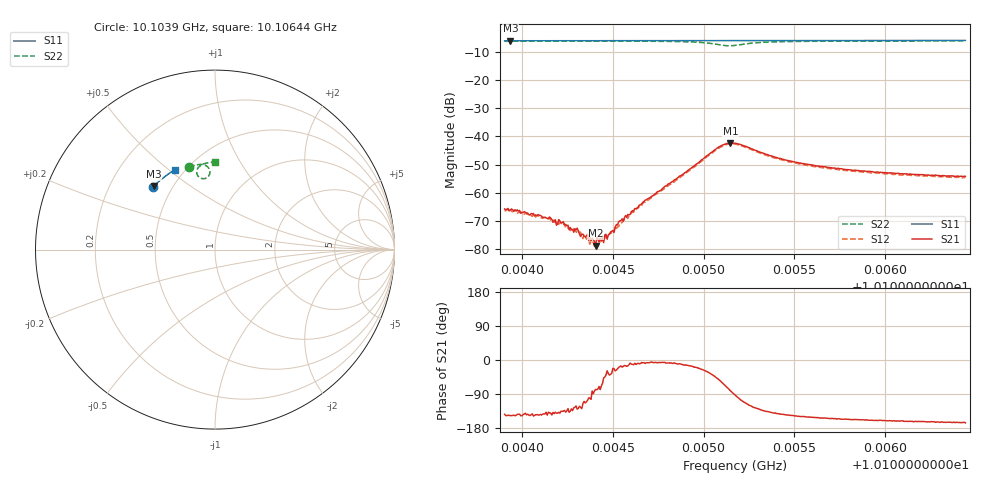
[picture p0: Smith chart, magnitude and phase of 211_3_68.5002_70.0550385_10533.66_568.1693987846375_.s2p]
#  HZ  S  RI  R  50.00
! Rohde & Schwarz Vector Network Analyzer
! Rohde-Schwarz,ZNB20-2Port,1311601062101988,3.16
! Created: UTC 3/20/2024, 5:13:10 PM
! freq[Hz]  re:S11  im:S11  re:S21  im:S21  re:S12  im:S12  re:S22  im:S22
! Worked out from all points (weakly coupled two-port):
!   401 points, 10.1039 GHz to 10.10644 GHz, reference 50 ohm
!   highest |S21| = -42.37 dB at 10.10515 GHz (marker M1); lowest = -78.7 dB at 10.1044 GHz (marker M2)
!   lowest |S11| = -6.2 dB at 10.10393 GHz (marker M3), VSWR 2.93, Z = 19.7 + j18.3 ohm
!   |S11| at or under -10 dB: nowhere
!   |S22| runs from -8.0 to -6.2 dB; largest |S21 - S12| = 0.00079
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1.0103902e10  -0.3431 0.3507  -0.000414 -0.00031  -0.000372 -0.000301  -0.1442 0.4607
1.0103934e10  -0.3416 0.3519  -0.000418 -0.000273  -0.000409 -0.000303  -0.1421 0.4614
1.0104138e10  -0.333 0.3609  -0.000291 -0.0002  -0.000257 -0.00024  -0.1282 0.4659
1.0104182e10  -0.3311 0.3629  -0.000246 -0.000224  -0.000171 -0.000242  -0.1251 0.4667
1.0104214e10  -0.3298 0.3642  -0.000207 -0.000207  -0.000209 -0.000198  -0.1228 0.4675
1.0104271e10  -0.3273 0.3666  -0.00014 -0.000174  -0.000104 -0.0002  -0.1185 0.4686
1.0104303e10  -0.3259 0.368  -0.000152 -0.000182  -8.73e-05 -0.000171  -0.1162 0.469
1.0104328e10  -0.3248 0.369  -0.000115 -0.000145  -6.04e-05 -0.000158  -0.1144 0.4696
1.0104385e10  -0.3223 0.3716  2.22e-05 -0.000155  3.94e-06 -0.000141  -0.1098 0.4707
1.0104404e10  -0.3213 0.3722  2.47e-05 -0.000114  3.1e-05 -0.000127  -0.1084 0.4708
1.0104436e10  -0.32 0.3737  5.2e-05 -0.000129  0.000114 -0.000102  -0.1059 0.4714
1.0104462e10  -0.3188 0.3747  0.000141 -0.000118  0.000127 -0.000117  -0.1036 0.4719
1.0104538e10  -0.3152 0.3779  0.000301 -9.61e-05  0.000277 -5.93e-05  -0.0971 0.4729
1.0104659e10  -0.3099 0.3827  0.000635 -7.44e-05  0.000601 -6.85e-06  -0.0856 0.4742
1.0104754e10  -0.3055 0.3865  0.00106 -0.000121  0.00102 -1.44e-05  -0.0749 0.4744
1.0105072e10  -0.2903 0.3984  0.00412 -0.00446  0.00438 -0.00384  -0.0292 0.4236
1.0105148e10  -0.287 0.4011  0.00118 -0.00752  0.00183 -0.0071  -0.064 0.395
1.0105173e10  -0.2859 0.4021  -0.000306 -0.00753  0.000378 -0.00726  -0.08 0.3981
1.0105402e10  -0.2751 0.4108  -0.00326 -0.00262  -0.00292 -0.0028  -0.0887 0.4622
1.0105599e10  -0.2654 0.4176  -0.00271 -0.0015  -0.00248 -0.00164  -0.0674 0.4758
1.0106025e10  -0.2437 0.4317  -0.00211 -0.000773  -0.00196 -0.00091  -0.0322 0.4848
1.0106444e10  -0.2218 0.4445  -0.00189 -0.00048  -0.00175 -0.000633  -0.00236 0.4878
